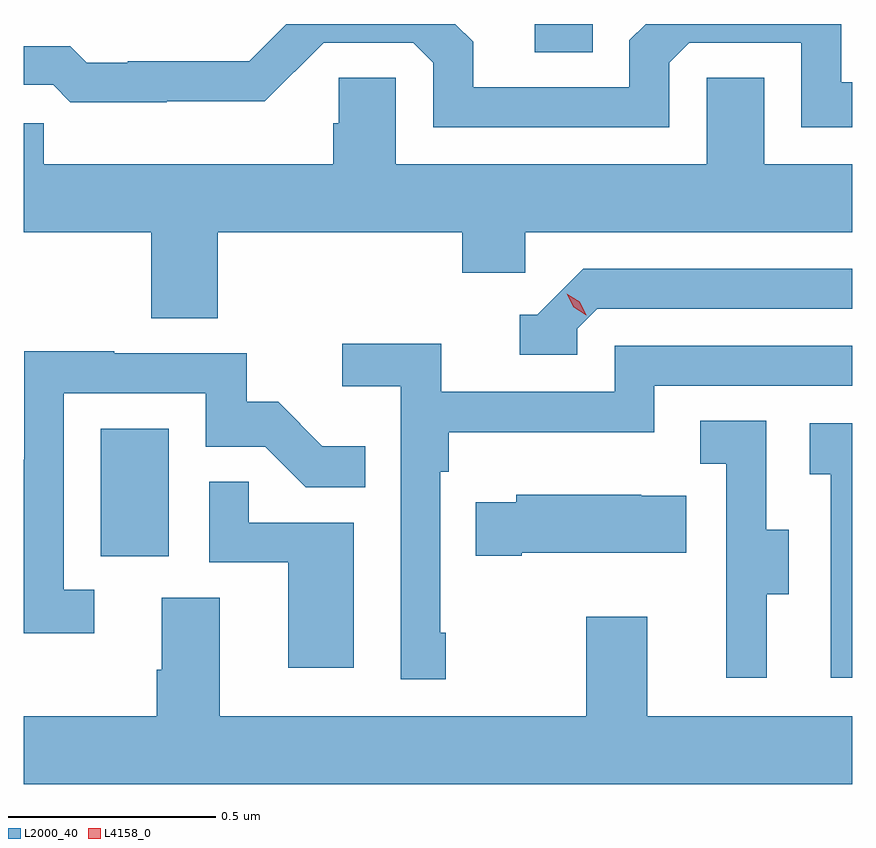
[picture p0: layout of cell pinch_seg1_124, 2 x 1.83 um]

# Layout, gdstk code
import gdstk
lib = gdstk.Library(unit=1e-6, precision=1e-09)
def R(c, l, rs):  # rectangles x0, y0, x1, y1
    for r in rs: c.add(gdstk.rectangle(r[:2], r[2:], *l))
def P(c, l, *ps):  # polygons
    for p in ps: c.add(gdstk.Polygon(p, *l))
L2000_40 = (2000, 40)
L4158_0 = (4158, 0)

pinch_seg1_124 = lib.new_cell('pinch_seg1_124')
R(pinch_seg1_124, L2000_40, [(1055.54,542.958,1055.704,543.265), (1056.587,544.174,1056.727,544.242)])
P(pinch_seg1_124, L2000_40, [(1056.912,544.149),(1056.96,544.197),(1057.23,544.197),(1057.23,543.993),(1057.354,543.993),(1057.354,544.102),(1057.327,544.102),(1057.327,544.242),(1056.855,544.242),(1056.816,544.203),(1056.816,544.089),(1056.439,544.089),(1056.439,544.199),(1056.396,544.242),(1055.988,544.242),(1055.898,544.152),(1055.605,544.152),(1055.605,544.149),(1055.506,544.149),(1055.467,544.188),(1055.354,544.188),(1055.354,544.095),(1055.425,544.095),(1055.467,544.053),(1055.7,544.053),(1055.7,544.055),(1055.936,544.055),(1056.078,544.197),(1056.294,544.197),(1056.342,544.149),(1056.342,543.993),(1056.912,543.993)],
  [(1055.822,543.74),(1056.413,543.74),(1056.413,543.642),(1056.564,543.642),(1056.564,543.74),(1057.354,543.74),(1057.354,543.904),(1057.141,543.904),(1057.141,544.112),(1057.002,544.112),(1057.002,543.904),(1056.252,543.904),(1056.252,544.112),(1056.115,544.112),(1056.115,544.002),(1056.101,544.002),(1056.101,543.904),(1055.403,543.904),(1055.403,544.002),(1055.354,544.002),(1055.354,543.74),(1055.662,543.74),(1055.662,543.532),(1055.822,543.532)],
  [(1056.69,543.507),(1056.738,543.555),(1057.354,543.555),(1057.354,543.651),(1056.705,543.651),(1056.594,543.54),(1056.551,543.54),(1056.551,543.444),(1056.69,543.444)],
  [(1056.373,542.773),(1056.36,542.773),(1056.36,543.161),(1056.38,543.161),(1056.38,543.257),(1056.876,543.257),(1056.876,543.369),(1057.354,543.369),(1057.354,543.465),(1056.78,543.465),(1056.78,543.354),(1056.362,543.354),(1056.362,543.47),(1056.123,543.47),(1056.123,543.368),(1056.264,543.368),(1056.264,542.661),(1056.373,542.661)],
  [(1055.524,542.877),(1055.451,542.877),(1055.451,543.351),(1055.793,543.351),(1055.793,543.222),(1055.937,543.222),(1056.035,543.124),(1056.179,543.124),(1056.179,543.223),(1056.075,543.223),(1055.968,543.33),(1055.892,543.33),(1055.892,543.447),(1055.573,543.447),(1055.573,543.452),(1055.355,543.452),(1055.355,543.191),(1055.354,543.191),(1055.354,542.772),(1055.524,542.772)],
  [(1057.147,542.866),(1057.201,542.866),(1057.201,543.021),(1057.146,543.021),(1057.146,543.284),(1056.987,543.284),(1056.987,543.181),(1057.05,543.181),(1057.05,542.877),(1057.049,542.877),(1057.049,542.664),(1057.147,542.664)],
  [(1057.354,543.279),(1057.251,543.279),(1057.251,543.155),(1057.302,543.155),(1057.302,542.664),(1057.354,542.664)],
  [(1056.151,543.039),(1055.897,543.039),(1055.897,543.137),(1055.802,543.137),(1055.802,542.943),(1055.993,542.943),(1055.993,542.688),(1056.151,542.688)],
  [(1056.556,542.966),(1056.953,542.966),(1056.953,543.103),(1056.845,543.103),(1056.845,543.106),(1056.543,543.106),(1056.543,543.088),(1056.445,543.088),(1056.445,542.959),(1056.556,542.959)],
  [(1057.354,542.572),(1056.859,542.572),(1056.859,542.812),(1056.712,542.812),(1056.712,542.572),(1055.827,542.572),(1055.827,542.858),(1055.687,542.858),(1055.687,542.684),(1055.675,542.684),(1055.675,542.572),(1055.354,542.572),(1055.354,542.408),(1057.354,542.408)])
P(pinch_seg1_124, L4158_0, [(1056.712,543.539),(1056.681,543.559),(1056.665,543.591),(1056.665,543.591),(1056.665,543.591),(1056.696,543.572),(1056.712,543.54),(1056.712,543.539)])

lib.write_gds('pinch_seg1_124.gds')
